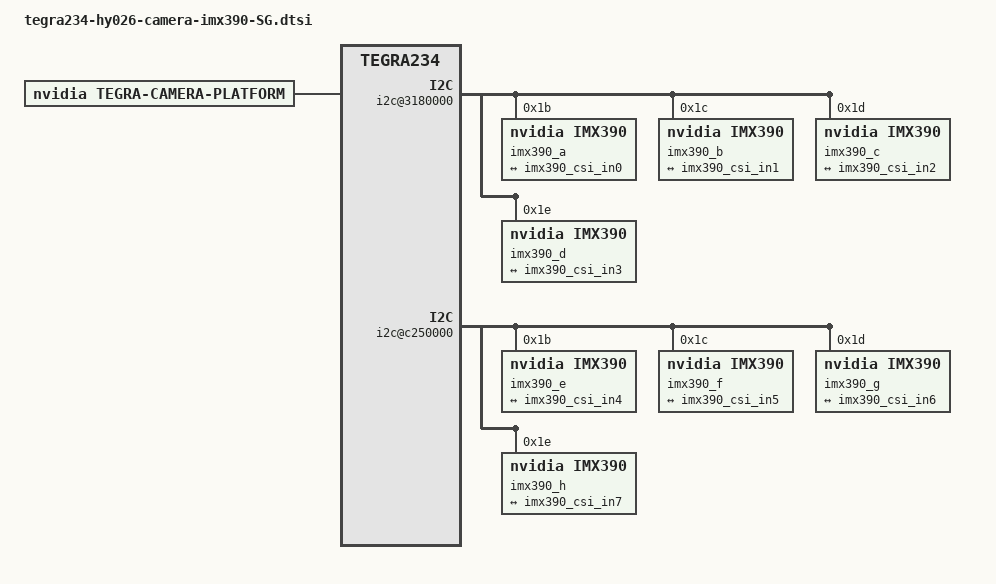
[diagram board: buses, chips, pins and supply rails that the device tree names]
/*
 * Copyright (c) 2018, NVIDIA CORPORATION.  All rights reserved.
 *
 * This program is free software; you can redistribute it and/or modify
 * it under the terms of the GNU General Public License as published by
 * the Free Software Foundation; either version 2 of the License, or
 * (at your option) any later version.
 *
 * This program is distributed in the hope that it will be useful, but WITHOUT
 * ANY WARRANTY; without even the implied warranty of MERCHANTABILITY or
 * FITNESS FOR A PARTICULAR PURPOSE.  See the GNU General Public License for
 * more details.
 *
 * You should have received a copy of the GNU General Public License
 * along with this program.  If not, see <http://www.gnu.org/licenses/>.
 */



/ {
		tegra-capture-vi {
			num-channels = <8>;
			ports {
				#address-cells = <1>;
				#size-cells = <0>;
            #if 1
				port@0 {
					reg = <0>;
					imx390_vi_in0: endpoint {
						vc-id = <0>;
						port-index = <0>;
						bus-width = <4>;
						remote-endpoint = <&imx390_csi_out0>;
					};
				};
				port@1 {
					reg = <1>;
					imx390_vi_in1: endpoint {
						vc-id = <1>;
						port-index = <0>;
						bus-width = <4>;
						remote-endpoint = <&imx390_csi_out1>;
					};
				};
				port@2 {
					reg = <2>;
					imx390_vi_in2: endpoint {
						vc-id = <0>;
						port-index = <2>;
						bus-width = <4>;
						remote-endpoint = <&imx390_csi_out2>;
					};
				};
				port@3 {
					reg = <3>;
					imx390_vi_in3: endpoint {
						vc-id = <1>;
						port-index = <2>;
						bus-width = <4>;
						remote-endpoint = <&imx390_csi_out3>;
					};
				};
            #endif
            #if 1
				port@4 {
					reg = <4>;
					imx390_vi_in4: endpoint {
						vc-id = <0>;
						port-index = <5>;
						bus-width = <4>;
						remote-endpoint = <&imx390_csi_out4>;
					};
				};
				port@5 {
					reg = <5>;
					imx390_vi_in5: endpoint {
						vc-id = <1>;
						port-index = <5>;
						bus-width = <4>;
						remote-endpoint = <&imx390_csi_out5>;
					};
				};	
				port@6 {
					reg = <6>;
					imx390_vi_in6: endpoint {
						vc-id = <0>;
						port-index = <4>;
						bus-width = <4>;
						remote-endpoint = <&imx390_csi_out6>;
					};
				};
				port@7 {
					reg = <7>;
					imx390_vi_in7: endpoint {
						vc-id = <1>;
						port-index = <4>;
						bus-width = <4>;
						remote-endpoint = <&imx390_csi_out7>;
					};
				};
            #endif
			};
		};

	host1x@13e00000 {
		nvcsi@15a00000 {
			num-channels = <8>;
			#address-cells = <1>;
			#size-cells = <0>;
        #if 1
			channel@0 {
				reg = <0>;
				ports {
					#address-cells = <1>;
					#size-cells = <0>;
					port@0 {
						reg = <0>;
						imx390_csi_in0: endpoint@0 {
							port-index = <0>;
							bus-width = <4>;
							remote-endpoint = <&imx390_imx390_out0>;
						};
					};

					port@1 {
						reg = <1>;
						imx390_csi_out0: endpoint@1 {
							remote-endpoint = <&imx390_vi_in0>;
						};
					};

				};
			};
			channel@1 {
				reg = <1>;
				ports {
					#address-cells = <1>;
					#size-cells = <0>;
					port@0 {
						reg = <0>;
						imx390_csi_in1: endpoint@2 {
							port-index = <0>;
							bus-width = <4>;
							remote-endpoint = <&imx390_imx390_out1>;
						};
					};
					port@1 {
						reg = <1>;
						imx390_csi_out1: endpoint@3 {
							remote-endpoint = <&imx390_vi_in1>;
						};
					};
				};
			};
			channel@2 {
				reg = <2>;
				ports {
					#address-cells = <1>;
					#size-cells = <0>;
					port@0 {
						reg = <0>;
						imx390_csi_in2: endpoint@4 {
							port-index = <2>;
							bus-width = <4>;
							remote-endpoint = <&imx390_imx390_out2>;
						};
					};
					port@1 {
						reg = <1>;
						imx390_csi_out2: endpoint@5 {
							remote-endpoint = <&imx390_vi_in2>;
						};
					};
				};
			};
			channel@3 {
				reg = <3>;
				ports {
					#address-cells = <1>;
					#size-cells = <0>;
					port@0 {
						reg = <0>;
						imx390_csi_in3: endpoint@6 {
							port-index = <2>;
							bus-width = <4>;
							remote-endpoint = <&imx390_imx390_out3>;
						};
					};
					port@1 {
						reg = <1>;
						imx390_csi_out3: endpoint@7 {
							remote-endpoint = <&imx390_vi_in3>;
						};
					};
				};
			};
        #endif
        #if 1
			channel@4 {
				reg = <4>;
				ports {
					#address-cells = <1>;
					#size-cells = <0>;
					port@0 {
						reg = <0>;
						imx390_csi_in4: endpoint@8 {
							port-index = <6>;
							bus-width = <4>;
							remote-endpoint = <&imx390_imx390_out4>;
						};
					};

					port@1 {
						reg = <1>;
						imx390_csi_out4: endpoint@9 {
							remote-endpoint = <&imx390_vi_in4>;
						};
					};

				};
			};
			channel@5 {
				reg = <5>;
				ports {
					#address-cells = <1>;
					#size-cells = <0>;
					port@0 {
						reg = <0>;
						imx390_csi_in5: endpoint@10 {
							port-index = <6>;
							bus-width = <4>;
							remote-endpoint = <&imx390_imx390_out5>;
						};
					};
					port@1 {
						reg = <1>;
						imx390_csi_out5: endpoint@11 {
							remote-endpoint = <&imx390_vi_in5>;
						};
					};
				};
			};
			channel@6 {
				reg = <6>;
				ports {
					#address-cells = <1>;
					#size-cells = <0>;
					port@0 {
						reg = <0>;
						imx390_csi_in6: endpoint@12 {
							port-index = <4>;
							bus-width = <4>;
							remote-endpoint = <&imx390_imx390_out6>;
						};
					};
					port@1 {
						reg = <1>;
						imx390_csi_out6: endpoint@13 {
							remote-endpoint = <&imx390_vi_in6>;
						};
					};
				};
			};
			channel@7 {
				reg = <7>;
				ports {
					#address-cells = <1>;
					#size-cells = <0>;
					port@0 {
						reg = <0>;
						imx390_csi_in7: endpoint@14 {
							port-index = <4>;
							bus-width = <4>;
							remote-endpoint = <&imx390_imx390_out7>;
						};
					};
					port@1 {
						reg = <1>;
						imx390_csi_out7: endpoint@15 {
							remote-endpoint = <&imx390_vi_in7>;
						};
					};
				};
			};
        #endif
		};

	};

	i2c@3180000 {

			imx390_a@1b {
				compatible = "nvidia,imx390";

				reg = <0x1b>;

				/* Physical dimensions of sensor */
				physical_w = "15.0";
				physical_h = "12.5";

				sensor_model ="imx390-SG";

				/* Defines number of frames to be dropped by driver internally after applying */
				/* sensor crop settings. Some sensors send corrupt frames after applying */
				/* crop co-ordinates */
				post_crop_frame_drop = "2";

				/* Convert Gain to unit of dB (decibel) befor passing to kernel driver */
				use_decibel_gain = "true";

				/* enable CID_SENSOR_MODE_ID for sensor modes selection */
				use_sensor_mode_id = "true";

				mode0 {/*mode IMX390_MODE_1920X1080_CROP_30FPS*/
					mclk_khz = "24000";
					num_lanes = "4";
					tegra_sinterface = "serial_a";
					vc_id = "0";
					discontinuous_clk = "no";
					dpcm_enable = "false";
					cil_settletime = "0";
					dynamic_pixel_bit_depth = "12";
					csi_pixel_bit_depth = "12";
					mode_type = "bayer";
					pixel_phase = "rggb";

					active_w = "1920";
					active_h = "1080";
					readout_orientation = "0";
					line_length = "2200";
					inherent_gain = "1";
					pix_clk_hz = "74250000";
					serdes_pix_clk_hz = "200000000";

					gain_factor = "10";
					min_gain_val = "0"; /* dB */
					max_gain_val = "300"; /* dB */
					step_gain_val = "3"; /* 0.3 */
					default_gain = "0";
					min_hdr_ratio = "1";
					max_hdr_ratio = "1";
					framerate_factor = "1000000";
					min_framerate = "30000000";
					max_framerate = "30000000";
					step_framerate = "1";
					default_framerate = "30000000";
					exposure_factor = "1000000";
					min_exp_time = "59"; /*us, 2 lines*/
					max_exp_time = "33333";
					step_exp_time = "1";
					default_exp_time = "33333";/* us */
					embedded_metadata_height = "0";
				};
				ports {
					#address-cells = <1>;
					#size-cells = <0>;
					port@0 {
						reg = <0>;
						imx390_imx390_out0: endpoint {
							vc-id = <0>;
							port-index = <0>;
							bus-width = <4>;
							remote-endpoint = <&imx390_csi_in0>;
							};
						};
					};
				gmsl-link {
					src-csi-port = "b";
					dst-csi-port = "b";
					serdes-csi-link = "a";
					csi-mode = "1x4";
					st-vc = <0>;
					vc-id = <0>;
					num-lanes = <4>;
					streams = "raw12";
					};
				};
			imx390_b@1c {
				compatible = "nvidia,imx390";

				reg = <0x1c>;

				/* Physical dimensions of sensor */
				physical_w = "15.0";
				physical_h = "12.5";

				sensor_model ="imx390-SG";

				/* Defines number of frames to be dropped by driver internally after applying */
				/* sensor crop settings. Some sensors send corrupt frames after applying */
				/* crop co-ordinates */
				post_crop_frame_drop = "2";

				/* Convert Gain to unit of dB (decibel) befor passing to kernel driver */
				use_decibel_gain = "true";

				/* enable CID_SENSOR_MODE_ID for sensor modes selection */
				use_sensor_mode_id = "true";

				mode0 {/*mode IMX390_MODE_1920X1080_CROP_30FPS*/
					mclk_khz = "24000";
					num_lanes = "4";
					tegra_sinterface = "serial_a";
					vc_id = "1";
					discontinuous_clk = "no";
					dpcm_enable = "false";
					cil_settletime = "0";
					dynamic_pixel_bit_depth = "12";
					csi_pixel_bit_depth = "12";
					mode_type = "bayer";
					pixel_phase = "rggb";

					active_w = "1920";
					active_h = "1080";
					readout_orientation = "0";
					line_length = "2200";
					inherent_gain = "1";
					pix_clk_hz = "74250000";
					serdes_pix_clk_hz = "200000000";

					gain_factor = "10";
					min_gain_val = "0"; /* dB */
					max_gain_val = "300"; /* dB */
					step_gain_val = "3"; /* 0.3 */
					default_gain = "0";
					min_hdr_ratio = "1";
					max_hdr_ratio = "1";
					framerate_factor = "1000000";
					min_framerate = "30000000";
					max_framerate = "30000000";
					step_framerate = "1";
					default_framerate = "30000000";
					exposure_factor = "1000000";
					min_exp_time = "59"; /*us, 2 lines*/
					max_exp_time = "33333";
					step_exp_time = "1";
					default_exp_time = "33333";/* us */
					embedded_metadata_height = "0";
				};
				ports {
					#address-cells = <1>;
					#size-cells = <0>;
					port@0 {
						reg = <0>;
						imx390_imx390_out1: endpoint {
							vc-id = <1>;
							port-index = <0>;
							bus-width = <4>;
							remote-endpoint = <&imx390_csi_in1>;
							};
						};
					};
				gmsl-link {
					src-csi-port = "b";
					dst-csi-port = "b";
					serdes-csi-link = "b";
					csi-mode = "1x4";
					st-vc = <0>;
					vc-id = <1>;
					num-lanes = <4>;
					streams = "raw12";
					};
				};

			imx390_c@1d {
				compatible = "nvidia,imx390";

				reg = <0x1d>;

				/* Physical dimensions of sensor */
				physical_w = "15.0";
				physical_h = "12.5";

				sensor_model ="imx390-SG";

				/* Defines number of frames to be dropped by driver internally after applying */
				/* sensor crop settings. Some sensors send corrupt frames after applying */
				/* crop co-ordinates */
				post_crop_frame_drop = "2";

				/* Convert Gain to unit of dB (decibel) befor passing to kernel driver */
				use_decibel_gain = "true";

				/* enable CID_SENSOR_MODE_ID for sensor modes selection */
				use_sensor_mode_id = "true";

				mode0 {/*mode IMX390_MODE_1920X1080_CROP_30FPS*/
					mclk_khz = "24000";
					num_lanes = "4";
					tegra_sinterface = "serial_c";
					vc_id = "0";
					discontinuous_clk = "no";
					dpcm_enable = "false";
					cil_settletime = "0";
					dynamic_pixel_bit_depth = "12";
					csi_pixel_bit_depth = "12";
					mode_type = "bayer";
					pixel_phase = "rggb";

					active_w = "1920";
					active_h = "1080";
					readout_orientation = "0";
					line_length = "2200";
					inherent_gain = "1";
					pix_clk_hz = "74250000";
					serdes_pix_clk_hz = "200000000";

					gain_factor = "10";
					min_gain_val = "0"; /* dB */
					max_gain_val = "300"; /* dB */
					step_gain_val = "3"; /* 0.3 */
					default_gain = "0";
					min_hdr_ratio = "1";
					max_hdr_ratio = "1";
					framerate_factor = "1000000";
					min_framerate = "30000000";
					max_framerate = "30000000";
					step_framerate = "1";
					default_framerate = "30000000";
					exposure_factor = "1000000";
					min_exp_time = "59"; /*us, 2 lines*/
					max_exp_time = "33333";
					step_exp_time = "1";
					default_exp_time = "33333";/* us */
					embedded_metadata_height = "0";
				};
				ports {
					#address-cells = <1>;
					#size-cells = <0>;
					port@0 {
						reg = <0>;
						imx390_imx390_out2: endpoint {
							vc-id = <0>;
							port-index = <2>;
							bus-width = <4>;
							remote-endpoint = <&imx390_csi_in2>;
							};
						};
					};
				gmsl-link {
					src-csi-port = "b";
					dst-csi-port = "b";
					serdes-csi-link = "a";
					csi-mode = "1x4";
					st-vc = <0>;
					vc-id = <0>;
					num-lanes = <4>;
					streams = "raw12";
					};
				};

			imx390_d@1e{
				compatible = "nvidia,imx390";

				reg = <0x1e>;

				/* Physical dimensions of sensor */
				physical_w = "15.0";
				physical_h = "12.5";

				sensor_model ="imx390-SG";

				/* Defines number of frames to be dropped by driver internally after applying */
				/* sensor crop settings. Some sensors send corrupt frames after applying */
				/* crop co-ordinates */
				post_crop_frame_drop = "2";

				/* Convert Gain to unit of dB (decibel) befor passing to kernel driver */
				use_decibel_gain = "true";

				/* enable CID_SENSOR_MODE_ID for sensor modes selection */
				use_sensor_mode_id = "true";

				mode0 {/*mode IMX390_MODE_1920X1080_CROP_30FPS*/
					mclk_khz = "24000";
					num_lanes = "4";
					tegra_sinterface = "serial_c";
					vc_id = "1";
					discontinuous_clk = "no";
					dpcm_enable = "false";
					cil_settletime = "0";
					dynamic_pixel_bit_depth = "12";
					csi_pixel_bit_depth = "12";
					mode_type = "bayer";
					pixel_phase = "rggb";

					active_w = "1920";
					active_h = "1080";
					readout_orientation = "0";
					line_length = "2200";
					inherent_gain = "1";
					pix_clk_hz = "74250000";
					serdes_pix_clk_hz = "200000000";

					gain_factor = "10";
					min_gain_val = "0"; /* dB */
					max_gain_val = "300"; /* dB */
					step_gain_val = "3"; /* 0.3 */
					default_gain = "0";
					min_hdr_ratio = "1";
					max_hdr_ratio = "1";
					framerate_factor = "1000000";
					min_framerate = "30000000";
					max_framerate = "30000000";
					step_framerate = "1";
					default_framerate = "30000000";
					exposure_factor = "1000000";
					min_exp_time = "59"; /*us, 2 lines*/
					max_exp_time = "33333";
					step_exp_time = "1";
					default_exp_time = "33333";/* us */
					embedded_metadata_height = "0";
				};
				ports {
					#address-cells = <1>;
					#size-cells = <0>;
					port@0 {
						reg = <0>;
						imx390_imx390_out3: endpoint {
							vc-id = <1>;
							port-index = <2>;
							bus-width = <4>;
							remote-endpoint = <&imx390_csi_in3>;
							};
						};
					};
				gmsl-link {
					src-csi-port = "b";
					dst-csi-port = "b";
					serdes-csi-link = "b";
					csi-mode = "1x4";
					st-vc = <0>;
					vc-id = <1>;
					num-lanes = <4>;
					streams = "raw12";
					};
				};
	};
    #if 1
	i2c@c250000 {
			imx390_e@1b {
				compatible = "nvidia,imx390";

				reg = <0x1b>;

				/* Physical dimensions of sensor */
				physical_w = "15.0";
				physical_h = "12.5";

				sensor_model ="imx390-SG";

				/* Defines number of frames to be dropped by driver internally after applying */
				/* sensor crop settings. Some sensors send corrupt frames after applying */
				/* crop co-ordinates */
				post_crop_frame_drop = "2";

				/* Convert Gain to unit of dB (decibel) befor passing to kernel driver */
				use_decibel_gain = "true";

				/* enable CID_SENSOR_MODE_ID for sensor modes selection */
				use_sensor_mode_id = "true";

				mode0 {/*mode IMX390_MODE_1920X1080_CROP_30FPS*/
					mclk_khz = "24000";
					num_lanes = "4";
					tegra_sinterface = "serial_g";
					vc_id = "0";
					discontinuous_clk = "no";
					dpcm_enable = "false";
					cil_settletime = "0";
					dynamic_pixel_bit_depth = "12";
					csi_pixel_bit_depth = "12";
					mode_type = "bayer";
					pixel_phase = "rggb";

					active_w = "1920";
					active_h = "1080";
					readout_orientation = "0";
					line_length = "2200";
					inherent_gain = "1";
					pix_clk_hz = "74250000";
					serdes_pix_clk_hz = "200000000";

					gain_factor = "10";
					min_gain_val = "0"; /* dB */
					max_gain_val = "300"; /* dB */
					step_gain_val = "3"; /* 0.3 */
					default_gain = "0";
					min_hdr_ratio = "1";
					max_hdr_ratio = "1";
					framerate_factor = "1000000";
					min_framerate = "30000000";
					max_framerate = "30000000";
					step_framerate = "1";
					default_framerate = "30000000";
					exposure_factor = "1000000";
					min_exp_time = "59"; /*us, 2 lines*/
					max_exp_time = "33333";
					step_exp_time = "1";
					default_exp_time = "33333";/* us */
					embedded_metadata_height = "0";
				};
				ports {
					#address-cells = <1>;
					#size-cells = <0>;
					port@0 {
						reg = <0>;
						imx390_imx390_out4: endpoint {
							vc-id = <0>;
							port-index = <6>;
							bus-width = <4>;
							remote-endpoint = <&imx390_csi_in4>;
							};
						};
					};
				gmsl-link {
					src-csi-port = "b";
					dst-csi-port = "b";
					serdes-csi-link = "a";
					csi-mode = "1x4";
					st-vc = <0>;
					vc-id = <0>;
					num-lanes = <4>;
					streams = "raw12";
					};
				};
			imx390_f@1c {
				compatible = "nvidia,imx390";

				reg = <0x1c>;

				/* Physical dimensions of sensor */
				physical_w = "15.0";
				physical_h = "12.5";

				sensor_model ="imx390-SG";

				/* Defines number of frames to be dropped by driver internally after applying */
				/* sensor crop settings. Some sensors send corrupt frames after applying */
				/* crop co-ordinates */
				post_crop_frame_drop = "2";

				/* Convert Gain to unit of dB (decibel) befor passing to kernel driver */
				use_decibel_gain = "true";

				/* enable CID_SENSOR_MODE_ID for sensor modes selection */
				use_sensor_mode_id = "true";

				mode0 {/*mode IMX390_MODE_1920X1080_CROP_30FPS*/
					mclk_khz = "24000";
					num_lanes = "4";
					tegra_sinterface = "serial_g";
					vc_id = "1";
					discontinuous_clk = "no";
					dpcm_enable = "false";
					cil_settletime = "0";
					dynamic_pixel_bit_depth = "12";
					csi_pixel_bit_depth = "12";
					mode_type = "bayer";
					pixel_phase = "rggb";

					active_w = "1920";
					active_h = "1080";
					readout_orientation = "0";
					line_length = "2200";
					inherent_gain = "1";
					pix_clk_hz = "74250000";
					serdes_pix_clk_hz = "200000000";

					gain_factor = "10";
					min_gain_val = "0"; /* dB */
					max_gain_val = "300"; /* dB */
					step_gain_val = "3"; /* 0.3 */
					default_gain = "0";
					min_hdr_ratio = "1";
					max_hdr_ratio = "1";
					framerate_factor = "1000000";
					min_framerate = "30000000";
					max_framerate = "30000000";
					step_framerate = "1";
					default_framerate = "30000000";
					exposure_factor = "1000000";
					min_exp_time = "59"; /*us, 2 lines*/
					max_exp_time = "33333";
					step_exp_time = "1";
					default_exp_time = "33333";/* us */
					embedded_metadata_height = "0";
				};
				ports {
					#address-cells = <1>;
					#size-cells = <0>;
					port@0 {
						reg = <0>;
						imx390_imx390_out5: endpoint {
							vc-id = <1>;
							port-index = <6>;
							bus-width = <4>;
							remote-endpoint = <&imx390_csi_in5>;
							};
						};
					};
				gmsl-link {
					src-csi-port = "b";
					dst-csi-port = "b";
					serdes-csi-link = "b";
					csi-mode = "1x4";
					st-vc = <0>;
					vc-id = <1>;
					num-lanes = <4>;
					streams = "raw12";
					};
				};

			imx390_g@1d {
				compatible = "nvidia,imx390";

				reg = <0x1d>;

				/* Physical dimensions of sensor */
				physical_w = "15.0";
				physical_h = "12.5";

				sensor_model ="imx390-SG";

				/* Defines number of frames to be dropped by driver internally after applying */
				/* sensor crop settings. Some sensors send corrupt frames after applying */
				/* crop co-ordinates */
				post_crop_frame_drop = "2";

				/* Convert Gain to unit of dB (decibel) befor passing to kernel driver */
				use_decibel_gain = "true";

				/* enable CID_SENSOR_MODE_ID for sensor modes selection */
				use_sensor_mode_id = "true";

				mode0 {/*mode IMX390_MODE_1920X1080_CROP_30FPS*/
					mclk_khz = "24000";
					num_lanes = "4";
					tegra_sinterface = "serial_e";
					vc_id = "0";
					discontinuous_clk = "no";
					dpcm_enable = "false";
					cil_settletime = "0";
					dynamic_pixel_bit_depth = "12";
					csi_pixel_bit_depth = "12";
					mode_type = "bayer";
					pixel_phase = "rggb";

					active_w = "1920";
					active_h = "1080";
					readout_orientation = "0";
					line_length = "2200";
					inherent_gain = "1";
					pix_clk_hz = "74250000";
					serdes_pix_clk_hz = "200000000";

					gain_factor = "10";
					min_gain_val = "0"; /* dB */
					max_gain_val = "300"; /* dB */
					step_gain_val = "3"; /* 0.3 */
					default_gain = "0";
					min_hdr_ratio = "1";
					max_hdr_ratio = "1";
					framerate_factor = "1000000";
					min_framerate = "30000000";
					max_framerate = "30000000";
					step_framerate = "1";
					default_framerate = "30000000";
					exposure_factor = "1000000";
					min_exp_time = "59"; /*us, 2 lines*/
					max_exp_time = "33333";
					step_exp_time = "1";
					default_exp_time = "33333";/* us */
					embedded_metadata_height = "0";
				};
				ports {
					#address-cells = <1>;
					#size-cells = <0>;
					port@0 {
						reg = <0>;
						imx390_imx390_out6: endpoint {
							vc-id = <0>;
							port-index = <4>;
							bus-width = <4>;
							remote-endpoint = <&imx390_csi_in6>;
							};
						};
					};
				gmsl-link {
					src-csi-port = "b";
					dst-csi-port = "b";
					serdes-csi-link = "a";
					csi-mode = "1x4";
					st-vc = <0>;
					vc-id = <0>;
					num-lanes = <4>;
					streams = "raw12";
					};
				};

			imx390_h@1e{
				compatible = "nvidia,imx390";

				reg = <0x1e>;

				/* Physical dimensions of sensor */
				physical_w = "15.0";
				physical_h = "12.5";

				sensor_model ="imx390-SG";

				/* Defines number of frames to be dropped by driver internally after applying */
				/* sensor crop settings. Some sensors send corrupt frames after applying */
				/* crop co-ordinates */
				post_crop_frame_drop = "2";

				/* Convert Gain to unit of dB (decibel) befor passing to kernel driver */
				use_decibel_gain = "true";

				/* enable CID_SENSOR_MODE_ID for sensor modes selection */
				use_sensor_mode_id = "true";

				mode0 {/*mode IMX390_MODE_1920X1080_CROP_30FPS*/
					mclk_khz = "24000";
					num_lanes = "4";
					tegra_sinterface = "serial_e";
					vc_id = "1";
					discontinuous_clk = "no";
					dpcm_enable = "false";
					cil_settletime = "0";
					dynamic_pixel_bit_depth = "12";
					csi_pixel_bit_depth = "12";
					mode_type = "bayer";
					pixel_phase = "rggb";

					active_w = "1920";
					active_h = "1080";
					readout_orientation = "0";
					line_length = "2200";
					inherent_gain = "1";
					pix_clk_hz = "74250000";
					serdes_pix_clk_hz = "200000000";

					gain_factor = "10";
					min_gain_val = "0"; /* dB */
					max_gain_val = "300"; /* dB */
					step_gain_val = "3"; /* 0.3 */
					default_gain = "0";
					min_hdr_ratio = "1";
					max_hdr_ratio = "1";
					framerate_factor = "1000000";
					min_framerate = "30000000";
					max_framerate = "30000000";
					step_framerate = "1";
					default_framerate = "30000000";
					exposure_factor = "1000000";
					min_exp_time = "59"; /*us, 2 lines*/
					max_exp_time = "33333";
					step_exp_time = "1";
					default_exp_time = "33333";/* us */
					embedded_metadata_height = "0";
				};
				ports {
					#address-cells = <1>;
					#size-cells = <0>;
					port@0 {
						reg = <0>;
						imx390_imx390_out7: endpoint {
							vc-id = <1>;
							port-index = <4>;
							bus-width = <4>;
							remote-endpoint = <&imx390_csi_in7>;
							};
						};
					};
				gmsl-link {
					src-csi-port = "b";
					dst-csi-port = "b";
					serdes-csi-link = "b";
					csi-mode = "1x4";
					st-vc = <0>;
					vc-id = <1>;
					num-lanes = <4>;
					streams = "raw12";
					};
				};

	};
    #endif

};

/ {

	tegra-camera-platform {
		compatible = "nvidia, tegra-camera-platform";
		/**
		* Physical settings to calculate max ISO BW
		*
		* num_csi_lanes = <>;
		* Total number of CSI lanes when all cameras are active
		*
		* max_lane_speed = <>;
		* Max lane speed in Kbit/s
		*
		* min_bits_per_pixel = <>;
		* Min bits per pixel
		*
		* vi_peak_byte_per_pixel = <>;
		* Max byte per pixel for the VI ISO case
		*
		* vi_bw_margin_pct = <>;
		* Vi bandwidth margin in percentage
		*
		* max_pixel_rate = <>;
		* Max pixel rate in Kpixel/s for the ISP ISO case
		*
		* isp_peak_byte_per_pixel = <>;
		* Max byte per pixel for the ISP ISO case
		*
		* isp_bw_margin_pct = <>;
		* Isp bandwidth margin in percentage
		*/
		num_csi_lanes = <8>;
		max_lane_speed = <4000000>;
		min_bits_per_pixel = <10>;
		vi_peak_byte_per_pixel = <2>;
		vi_bw_margin_pct = <25>;
		isp_peak_byte_per_pixel = <5>;
		isp_bw_margin_pct = <25>;

		/**
		 * The general guideline for naming badge_info contains 3 parts, and is as follows,
		 * The first part is the camera_board_id for the module; if the module is in a FFD
		 * platform, then use the platform name for this part.
		 * The second part contains the position of the module, ex. "rear" or "front".
		 * The third part contains the last 6 characters of a part number which is found
		 * in the module's specsheet from the vender.
		 */
		modules {

			module0 {
				badge = "imx390_bottomleft";
				position = "camera_0";
				orientation = "0";
				drivernode0 {
					pcl_id = "v4l2_sensor";
					devname = "imx390 2-001b";
					proc-device-tree = "/proc/device-tree/i2c@3180000/imx390_a@1b";
				};
			};
			module1 {
				badge = "imx390_bottomright";
				position = "camera_1";
				orientation = "0";
				drivernode0 {
					pcl_id = "v4l2_sensor";
					devname = "imx390 2-001c";
					proc-device-tree = "/proc/device-tree/i2c@3180000/imx390_b@1c";
				};
			};
			module2 {
				badge = "imx390_bottomleft";
				position = "camera_2";
				orientation = "0";
				drivernode0 {
					pcl_id = "v4l2_sensor";
					devname = "imx390 2-001d";
					proc-device-tree = "/proc/device-tree/i2c@3180000/imx390_c@1d";
				};
			};
			module3 {
				badge = "imx390_bottomleft";
				position = "camera_3";
				orientation = "0";
				drivernode0 {
					pcl_id = "v4l2_sensor";
					devname = "imx390 2-001e";
					proc-device-tree = "/proc/device-tree/i2c@3180000/imx390_d@1e";
				};
			};
           #if 1
			module4 {
				badge = "imx390_topleft";
				position = "camera_4";
				orientation = "0";
				drivernode0 {
					pcl_id = "v4l2_sensor";
					devname = "imx390 7-001b";
					proc-device-tree = "/proc/device-tree/i2c@c250000/imx390_e@1b";
				};
			};
			module5 {
				badge = "imx390_topright";
				position = "camera_5";
				orientation = "0";
				drivernode0 {
					pcl_id = "v4l2_sensor";
					devname = "imx390 7-001c";
					proc-device-tree = "/proc/device-tree/i2c@c250000/imx390_f@1c";
				};
			};
			module6 {
				badge = "imx390_centerleft";
				position = "camera_6";
				orientation = "0";
				drivernode0 {
					pcl_id = "v4l2_sensor";
					devname = "imx390 7-001d";
					proc-device-tree = "/proc/device-tree/i2c@c250000/imx390_g@1d";
				};
			};
			module7 {
				badge = "imx390_centerrigth";
				position = "camera_7";
				orientation = "0";
				drivernode0 {
					pcl_id = "v4l2_sensor";
					devname = "imx390 7-001e";
					proc-device-tree = "/proc/device-tree/i2c@c250000/imx390_h@1e";
				};
			};
            #endif
		};
	};
};
